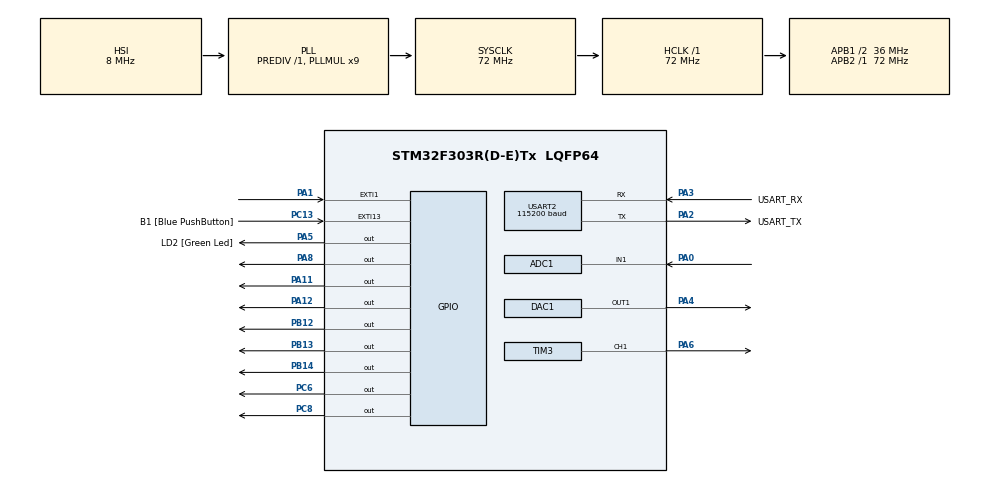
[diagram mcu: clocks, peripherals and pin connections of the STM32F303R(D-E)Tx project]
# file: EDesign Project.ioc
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ADC1.Channel-1\#ChannelRegularConversion=ADC_CHANNEL_1
ADC1.NbrOfConversionFlag=1
ADC1.Offset-1\#ChannelRegularConversion=0
ADC1.OffsetNumber-1\#ChannelRegularConversion=ADC_OFFSET_NONE
ADC1.Rank-1\#ChannelRegularConversion=1
ADC1.SamplingTime-1\#ChannelRegularConversion=ADC_SAMPLETIME_1CYCLE_5
ADC1.master=1
DAC1.DAC_Trigger=DAC_TRIGGER_T4_TRGO
Dma.DAC1_CH1.0.Direction=DMA_MEMORY_TO_PERIPH
Dma.DAC1_CH1.0.Instance=DMA1_Channel3
Dma.DAC1_CH1.0.MemDataAlignment=DMA_MDATAALIGN_WORD
Dma.DAC1_CH1.0.MemInc=DMA_MINC_ENABLE
Dma.DAC1_CH1.0.Mode=DMA_CIRCULAR
Dma.DAC1_CH1.0.PeriphDataAlignment=DMA_PDATAALIGN_WORD
Dma.DAC1_CH1.0.PeriphInc=DMA_PINC_DISABLE
Dma.DAC1_CH1.0.Priority=DMA_PRIORITY_LOW
Dma.Request0=DAC1_CH1
Mcu.Family=STM32F3
Mcu.Name=STM32F303R(D-E)Tx
Mcu.Package=LQFP64
NVIC.DMA1_Channel3_IRQn=true\:0\:0\:false\:false\:true\:false\:true
NVIC.EXTI1_IRQn=true\:0\:0\:false\:false\:true\:true\:true
NVIC.PriorityGroup=NVIC_PRIORITYGROUP_0
NVIC.TIM2_IRQn=true\:0\:0\:false\:false\:true\:true\:true
NVIC.TIM3_IRQn=true\:0\:0\:false\:false\:true\:true\:true
NVIC.TIM4_IRQn=true\:0\:0\:false\:false\:true\:true\:true
NVIC.USART2_IRQn=true\:0\:0\:false\:false\:true\:true\:true
PA0.Mode=IN1-Single-Ended
PA0.Signal=ADC1_IN1
PA1.Signal=GPXTI1
PA11.GPIO_ModeDefaultOutputPP=GPIO_MODE_OUTPUT_PP
PA11.Signal=GPIO_Output
PA12.GPIO_ModeDefaultOutputPP=GPIO_MODE_OUTPUT_PP
PA12.Signal=GPIO_Output
PA13.GPIO_Label=TMS
PA13.Mode=Serial_Wire
PA13.Signal=SYS_JTMS-SWDIO
PA14.GPIO_Label=TCK
PA14.Mode=Serial_Wire
PA14.Signal=SYS_JTCK-SWCLK
PA2.GPIO_Label=USART_TX
PA2.GPIO_Mode=GPIO_MODE_AF_PP
PA2.GPIO_PuPd=GPIO_NOPULL
PA2.GPIO_Speed=GPIO_SPEED_FREQ_LOW
PA2.Mode=Asynchronous
PA2.Signal=USART2_TX
PA3.GPIO_Label=USART_RX
PA3.GPIO_Mode=GPIO_MODE_AF_PP
PA3.GPIO_PuPd=GPIO_NOPULL
PA3.GPIO_Speed=GPIO_SPEED_FREQ_LOW
PA3.Mode=Asynchronous
PA3.Signal=USART2_RX
PA4.Signal=COMP_DAC11_group
PA5.GPIO_Label=LD2 [Green Led]
PA5.GPIO_Mode=GPIO_MODE_OUTPUT_PP
PA5.GPIO_PuPd=GPIO_NOPULL
PA5.GPIO_Speed=GPIO_SPEED_FREQ_LOW
PA5.Signal=GPIO_Output
PA6.Signal=S_TIM3_CH1
PA8.Signal=GPIO_Output
PB12.Signal=GPIO_Output
PB13.Signal=GPIO_Output
PB14.Signal=GPIO_Output
PB3.GPIO_Label=SWO
PB3.Signal=SYS_JTDO-TRACESWO
PC13.GPIO_Label=B1 [Blue PushButton]
PC13.GPIO_ModeDefaultEXTI=GPIO_MODE_IT_FALLING
PC13.Signal=GPXTI13
PC14-OSC32_IN.Mode=LSE-External-Oscillator
PC14-OSC32_IN.Signal=RCC_OSC32_IN
PC15-OSC32_OUT.Mode=LSE-External-Oscillator
PC15-OSC32_OUT.Signal=RCC_OSC32_OUT
PC6.GPIO_ModeDefaultOutputPP=GPIO_MODE_OUTPUT_PP
PC6.Signal=GPIO_Output
PC8.GPIO_ModeDefaultOutputPP=GPIO_MODE_OUTPUT_PP
PC8.Signal=GPIO_Output
PF0-OSC_IN.Mode=HSE-External-Clock-Source
PF0-OSC_IN.Signal=RCC_OSC_IN
PF1-OSC_OUT.Signal=RCC_OSC_OUT
ProjectManager.HeapSize=0x200
ProjectManager.StackSize=0x400
ProjectManager.TargetToolchain=STM32CubeIDE
RCC.AHBFreq_Value=72000000
RCC.APB1CLKDivider=RCC_HCLK_DIV2
RCC.APB1Freq_Value=36000000
RCC.APB1TimFreq_Value=72000000
RCC.APB2Freq_Value=72000000
RCC.APB2TimFreq_Value=72000000
RCC.CortexFreq_Value=72000000
RCC.HCLKFreq_Value=72000000
RCC.HSE_VALUE=8000000
RCC.HSI_VALUE=8000000
RCC.PLLM=8
RCC.PLLMUL=RCC_PLL_MUL9
RCC.PLLN=336
RCC.PLLP=RCC_PLLP_DIV4
RCC.PLLQ=7
RCC.RCC_PLLsource_Clock_Source_FROM_HSE=RCC_HSE_PREDIV_DIV2
RCC.SYSCLKFreq_VALUE=72000000
RCC.SYSCLKSourceVirtual=RCC_SYSCLKSOURCE_PLLCLK
RCC.USBFreq_Value=72000000
SH.COMP_DAC11_group.0=DAC1_OUT1,DAC_OUT1
SH.S_TIM3_CH1.0=TIM3_CH1,Output Compare1 CH1
TIM2.Period=499
TIM2.Prescaler=7199
TIM3.Channel-Output\ Compare1\ CH1=TIM_CHANNEL_1
TIM3.Period=49
TIM3.Prescaler=71
TIM4.Period=10-1
TIM4.Prescaler=72-1
TIM4.TIM_MasterOutputTrigger=TIM_TRGO_UPDATE
USART2.BaudRate=115200
USART2.VirtualMode-Asynchronous=VM_ASYNC
VP_TIM2_VS_ClockSourceINT.Mode=Internal
VP_TIM3_VS_ClockSourceINT.Mode=Internal
VP_TIM4_VS_ClockSourceINT.Mode=Internal
board=NUCLEO-F303RE

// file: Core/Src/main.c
/* USER CODE BEGIN Header */
/**
 ******************************************************************************
 * @file           : main.c
 * @brief          : Main program body
 ******************************************************************************
 * @attention
 *
 * <h2><center>&copy; Copyright (c) 2022 STMicroelectronics.
 * All rights reserved.</center></h2>
 *
 * This software component is licensed by ST under BSD 3-Clause license,
 * the "License"; You may not use this file except in compliance with the
 * License. You may obtain a copy of the License at:
 *                        opensource.org/licenses/BSD-3-Clause
 *
 ******************************************************************************
 */
/* USER CODE END Header */

#include "main.h"

/* USER CODE BEGIN Includes */
#include "uart_lise.h"
#include "stateManagement.h"
#include "output.h"
#include "lcd.h"
/* USER CODE END Includes */

ADC_HandleTypeDef hadc1;

DAC_HandleTypeDef hdac1;
DMA_HandleTypeDef hdma_dac1_ch1;

TIM_HandleTypeDef htim2;
TIM_HandleTypeDef htim3;
TIM_HandleTypeDef htim4;

UART_HandleTypeDef huart2;

/* USER CODE BEGIN PV */
uint8_t buttonState = 1;
uint8_t toggle_menu = 0;
uint32_t dcVal[100];
/* USER CODE END PV */

void SystemClock_Config(void);
static void MX_GPIO_Init(void);
static void MX_DMA_Init(void);
static void MX_ADC1_Init(void);
static void MX_USART2_UART_Init(void);
static void MX_TIM3_Init(void);
static void MX_TIM2_Init(void);
static void MX_TIM4_Init(void);
static void MX_DAC1_Init(void);

/* USER CODE BEGIN 0 */
void HAL_GPIO_EXTI_Callback(uint16_t GPIO_Pin)
{
  /* Prevent unused argument(s) compilation warning */
  UNUSED(GPIO_Pin);
  if (GPIO_Pin == 2 && buttonState ==1)
  {
	  HAL_TIM_Base_Start_IT(&htim2);
	  buttonState =0;
  }
  /* NOTE: This function should not be modified, when the callback is needed,
           the HAL_GPIO_EXTI_Callback could be implemented in the user file
   */
}

void HAL_TIM_PeriodElapsedCallback(TIM_HandleTypeDef *htim) {
	/* Prevent unused argument(s) compilation warning */
	UNUSED(htim);

	if (htim == &htim2)
	{
		if ((GPIOA->IDR & 0b1<<1) == 0)
		{
			HAL_TIM_Base_Stop_IT(&htim2);
			GPIOA->ODR = GPIOA->ODR ^ (0b1<<8); // if low make high, if high make low
			toggle_menu = 1;
			buttonState =1;
		}

	}

	if (htim == &htim3) {
		sampleADC();
	}
}

/* USER CODE END 0 */

int main(void)
{

  /* MCU Configuration--------------------------------------------------------*/

  /* Reset of all peripherals, Initializes the Flash interface and the Systick. */
  HAL_Init();

  /* Configure the system clock */
  SystemClock_Config();

  /* Initialize all configured peripherals */
  MX_GPIO_Init();
  MX_DMA_Init();
  MX_ADC1_Init();
  MX_USART2_UART_Init();
  MX_TIM3_Init();
  MX_TIM2_Init();
  MX_TIM4_Init();
  MX_DAC1_Init();
  /* USER CODE BEGIN 2 */
  HAL_TIM_Base_Start_IT(&htim3);
  HAL_TIM_Base_Start(&htim4);
  initState();
  LCD_init();
  LCD_Clear();
  menuInit();
  // Commented out for menu initialization:
//  LCD_Write_String("Lee Johnson");
//  LCD_Set_Cursor(2,1);
//  LCD_Write_String("24058661");
  /* USER CODE END 2 */

  /* Infinite loop */
  /* USER CODE BEGIN WHILE */
  HAL_UART_Transmit(&huart2, (uint8_t*) "@,24058661,!,\n", 14, 10);
  HAL_UART_Receive_IT(&huart2, rxData, 1);
	while (1) {

		if(toggle_menu){
			// Do we have to toggle between menu and display state?
			if(LCDState == STATE_LCD_MENU){
				setLCDState(STATE_LCD_DISPLAY);
			} else {
				setLCDState(STATE_LCD_MENU);
			}
			toggle_menu = 0;
		}

		if(input_complete){
			// If we have dealt with out UART received data in the callback function
			  process_input();
			  //HAL_UART_Transmit(&huart2, (uint8_t*)mode ,2,50);
			  input_complete = 0;
		}

		if(send_status){
			// Do we need to send a status message?
			  status_message[2] = mes_mode[0]; // Better than stateToString()
			  status_message[3] = mes_mode[1]; // Better than stateToString()
			  status_message[5] = outTypeToString();
			  status_message[7] = outputToString();

			  HAL_UART_Transmit(&huart2, status_message ,11,50);
			  send_status = 0;
		}

		if(send_measure){
			// Do we need to send a measurement message?
			  sendMeasure();
			  send_measure = 0;
		}
    /* USER CODE END WHILE */

    /* USER CODE BEGIN 3 */
		dcOut();
		calcSin();
		acOut();
	}
  /* USER CODE END 3 */
}

void SystemClock_Config(void)
{
  RCC_OscInitTypeDef RCC_OscInitStruct = {0};
  RCC_ClkInitTypeDef RCC_ClkInitStruct = {0};
  RCC_PeriphCLKInitTypeDef PeriphClkInit = {0};

  /** Initializes the CPU, AHB and APB busses clocks
  */
  RCC_OscInitStruct.OscillatorType = RCC_OSCILLATORTYPE_HSI;
  RCC_OscInitStruct.HSIState = RCC_HSI_ON;
  RCC_OscInitStruct.HSICalibrationValue = RCC_HSICALIBRATION_DEFAULT;
  RCC_OscInitStruct.PLL.PLLState = RCC_PLL_ON;
  RCC_OscInitStruct.PLL.PLLSource = RCC_PLLSOURCE_HSI;
  RCC_OscInitStruct.PLL.PLLMUL = RCC_PLL_MUL9;
  RCC_OscInitStruct.PLL.PREDIV = RCC_PREDIV_DIV1;
  if (HAL_RCC_OscConfig(&RCC_OscInitStruct) != HAL_OK)
  {
    Error_Handler();
  }
  /** Initializes the CPU, AHB and APB busses clocks
  */
  RCC_ClkInitStruct.ClockType = RCC_CLOCKTYPE_HCLK|RCC_CLOCKTYPE_SYSCLK
                              |RCC_CLOCKTYPE_PCLK1|RCC_CLOCKTYPE_PCLK2;
  RCC_ClkInitStruct.SYSCLKSource = RCC_SYSCLKSOURCE_PLLCLK;
  RCC_ClkInitStruct.AHBCLKDivider = RCC_SYSCLK_DIV1;
  RCC_ClkInitStruct.APB1CLKDivider = RCC_HCLK_DIV2;
  RCC_ClkInitStruct.APB2CLKDivider = RCC_HCLK_DIV1;

  if (HAL_RCC_ClockConfig(&RCC_ClkInitStruct, FLASH_LATENCY_2) != HAL_OK)
  {
    Error_Handler();
  }
  PeriphClkInit.PeriphClockSelection = RCC_PERIPHCLK_USART2|RCC_PERIPHCLK_ADC12
                              |RCC_PERIPHCLK_TIM2|RCC_PERIPHCLK_TIM34;
  PeriphClkInit.Usart2ClockSelection = RCC_USART2CLKSOURCE_PCLK1;
  PeriphClkInit.Adc12ClockSelection = RCC_ADC12PLLCLK_DIV1;
  PeriphClkInit.Tim2ClockSelection = RCC_TIM2CLK_HCLK;
  PeriphClkInit.Tim34ClockSelection = RCC_TIM34CLK_HCLK;
  if (HAL_RCCEx_PeriphCLKConfig(&PeriphClkInit) != HAL_OK)
  {
    Error_Handler();
  }
}

static void MX_ADC1_Init(void)
{

  ADC_MultiModeTypeDef multimode = {0};
  ADC_ChannelConfTypeDef sConfig = {0};

  /** Common config
  */
  hadc1.Instance = ADC1;
  hadc1.Init.ClockPrescaler = ADC_CLOCK_ASYNC_DIV1;
  hadc1.Init.Resolution = ADC_RESOLUTION_12B;
  hadc1.Init.ScanConvMode = ADC_SCAN_DISABLE;
  hadc1.Init.ContinuousConvMode = DISABLE;
  hadc1.Init.DiscontinuousConvMode = DISABLE;
  hadc1.Init.ExternalTrigConvEdge = ADC_EXTERNALTRIGCONVEDGE_NONE;
  hadc1.Init.ExternalTrigConv = ADC_SOFTWARE_START;
  hadc1.Init.DataAlign = ADC_DATAALIGN_RIGHT;
  hadc1.Init.NbrOfConversion = 1;
  hadc1.Init.DMAContinuousRequests = DISABLE;
  hadc1.Init.EOCSelection = ADC_EOC_SINGLE_CONV;
  hadc1.Init.LowPowerAutoWait = DISABLE;
  hadc1.Init.Overrun = ADC_OVR_DATA_OVERWRITTEN;
  if (HAL_ADC_Init(&hadc1) != HAL_OK)
  {
    Error_Handler();
  }
  /** Configure the ADC multi-mode
  */
  multimode.Mode = ADC_MODE_INDEPENDENT;
  if (HAL_ADCEx_MultiModeConfigChannel(&hadc1, &multimode) != HAL_OK)
  {
    Error_Handler();
  }
  /** Configure Regular Channel
  */
  sConfig.Channel = ADC_CHANNEL_1;
  sConfig.Rank = ADC_REGULAR_RANK_1;
  sConfig.SingleDiff = ADC_SINGLE_ENDED;
  sConfig.SamplingTime = ADC_SAMPLETIME_1CYCLE_5;
  sConfig.OffsetNumber = ADC_OFFSET_NONE;
  sConfig.Offset = 0;
  if (HAL_ADC_ConfigChannel(&hadc1, &sConfig) != HAL_OK)
  {
    Error_Handler();
  }

}

static void MX_DAC1_Init(void)
{

  DAC_ChannelConfTypeDef sConfig = {0};

  /** DAC Initialization
  */
  hdac1.Instance = DAC1;
  if (HAL_DAC_Init(&hdac1) != HAL_OK)
  {
    Error_Handler();
  }
  /** DAC channel OUT1 config
  */
  sConfig.DAC_Trigger = DAC_TRIGGER_T4_TRGO;
  sConfig.DAC_OutputBuffer = DAC_OUTPUTBUFFER_ENABLE;
  if (HAL_DAC_ConfigChannel(&hdac1, &sConfig, DAC_CHANNEL_1) != HAL_OK)
  {
    Error_Handler();
  }

}

static void MX_TIM2_Init(void)
{

  TIM_ClockConfigTypeDef sClockSourceConfig = {0};
  TIM_MasterConfigTypeDef sMasterConfig = {0};

  htim2.Instance = TIM2;
  htim2.Init.Prescaler = 7199;
  htim2.Init.CounterMode = TIM_COUNTERMODE_UP;
  htim2.Init.Period = 499;
  htim2.Init.ClockDivision = TIM_CLOCKDIVISION_DIV1;
  htim2.Init.AutoReloadPreload = TIM_AUTORELOAD_PRELOAD_DISABLE;
  if (HAL_TIM_Base_Init(&htim2) != HAL_OK)
  {
    Error_Handler();
  }
  sClockSourceConfig.ClockSource = TIM_CLOCKSOURCE_INTERNAL;
  if (HAL_TIM_ConfigClockSource(&htim2, &sClockSourceConfig) != HAL_OK)
  {
    Error_Handler();
  }
  sMasterConfig.MasterOutputTrigger = TIM_TRGO_RESET;
  sMasterConfig.MasterSlaveMode = TIM_MASTERSLAVEMODE_DISABLE;
  if (HAL_TIMEx_MasterConfigSynchronization(&htim2, &sMasterConfig) != HAL_OK)
  {
    Error_Handler();
  }

}

static void MX_TIM3_Init(void)
{

  TIM_ClockConfigTypeDef sClockSourceConfig = {0};
  TIM_MasterConfigTypeDef sMasterConfig = {0};
  TIM_OC_InitTypeDef sConfigOC = {0};

  htim3.Instance = TIM3;
  htim3.Init.Prescaler = 71;
  htim3.Init.CounterMode = TIM_COUNTERMODE_UP;
  htim3.Init.Period = 49;
  htim3.Init.ClockDivision = TIM_CLOCKDIVISION_DIV1;
  htim3.Init.AutoReloadPreload = TIM_AUTORELOAD_PRELOAD_DISABLE;
  if (HAL_TIM_Base_Init(&htim3) != HAL_OK)
  {
    Error_Handler();
  }
  sClockSourceConfig.ClockSource = TIM_CLOCKSOURCE_INTERNAL;
  if (HAL_TIM_ConfigClockSource(&htim3, &sClockSourceConfig) != HAL_OK)
  {
    Error_Handler();
  }
  if (HAL_TIM_OC_Init(&htim3) != HAL_OK)
  {
    Error_Handler();
  }
  sMasterConfig.MasterOutputTrigger = TIM_TRGO_RESET;
  sMasterConfig.MasterSlaveMode = TIM_MASTERSLAVEMODE_DISABLE;
  if (HAL_TIMEx_MasterConfigSynchronization(&htim3, &sMasterConfig) != HAL_OK)
  {
    Error_Handler();
  }
  sConfigOC.OCMode = TIM_OCMODE_TIMING;
  sConfigOC.Pulse = 0;
  sConfigOC.OCPolarity = TIM_OCPOLARITY_HIGH;
  sConfigOC.OCFastMode = TIM_OCFAST_DISABLE;
  if (HAL_TIM_OC_ConfigChannel(&htim3, &sConfigOC, TIM_CHANNEL_1) != HAL_OK)
  {
    Error_Handler();
  }
  HAL_TIM_MspPostInit(&htim3);

}

static void MX_TIM4_Init(void)
{

  TIM_ClockConfigTypeDef sClockSourceConfig = {0};
  TIM_MasterConfigTypeDef sMasterConfig = {0};

  htim4.Instance = TIM4;
  htim4.Init.Prescaler = 72-1;
  htim4.Init.CounterMode = TIM_COUNTERMODE_UP;
  htim4.Init.Period = 10-1;
  htim4.Init.ClockDivision = TIM_CLOCKDIVISION_DIV1;
  htim4.Init.AutoReloadPreload = TIM_AUTORELOAD_PRELOAD_DISABLE;
  if (HAL_TIM_Base_Init(&htim4) != HAL_OK)
  {
    Error_Handler();
  }
  sClockSourceConfig.ClockSource = TIM_CLOCKSOURCE_INTERNAL;
  if (HAL_TIM_ConfigClockSource(&htim4, &sClockSourceConfig) != HAL_OK)
  {
    Error_Handler();
  }
  sMasterConfig.MasterOutputTrigger = TIM_TRGO_UPDATE;
  sMasterConfig.MasterSlaveMode = TIM_MASTERSLAVEMODE_DISABLE;
  if (HAL_TIMEx_MasterConfigSynchronization(&htim4, &sMasterConfig) != HAL_OK)
  {
    Error_Handler();
  }

}

static void MX_USART2_UART_Init(void)
{

  huart2.Instance = USART2;
  huart2.Init.BaudRate = 115200;
  huart2.Init.WordLength = UART_WORDLENGTH_8B;
  huart2.Init.StopBits = UART_STOPBITS_1;
  huart2.Init.Parity = UART_PARITY_NONE;
  huart2.Init.Mode = UART_MODE_TX_RX;
  huart2.Init.HwFlowCtl = UART_HWCONTROL_NONE;
  huart2.Init.OverSampling = UART_OVERSAMPLING_16;
  huart2.Init.OneBitSampling = UART_ONE_BIT_SAMPLE_DISABLE;
  huart2.AdvancedInit.AdvFeatureInit = UART_ADVFEATURE_NO_INIT;
  if (HAL_UART_Init(&huart2) != HAL_OK)
  {
    Error_Handler();
  }

}

static void MX_DMA_Init(void)
{

  /* DMA controller clock enable */
  __HAL_RCC_DMA1_CLK_ENABLE();

  /* DMA interrupt init */
  /* DMA1_Channel3_IRQn interrupt configuration */
  HAL_NVIC_SetPriority(DMA1_Channel3_IRQn, 0, 0);
  HAL_NVIC_EnableIRQ(DMA1_Channel3_IRQn);

}

static void MX_GPIO_Init(void)
{
  GPIO_InitTypeDef GPIO_InitStruct = {0};

  /* GPIO Ports Clock Enable */
  __HAL_RCC_GPIOC_CLK_ENABLE();
  __HAL_RCC_GPIOF_CLK_ENABLE();
  __HAL_RCC_GPIOA_CLK_ENABLE();
  __HAL_RCC_GPIOB_CLK_ENABLE();

  /*Configure GPIO pin Output Level */
  HAL_GPIO_WritePin(GPIOA, LD2_Pin|GPIO_PIN_8|GPIO_PIN_11|GPIO_PIN_12, GPIO_PIN_RESET);

  /*Configure GPIO pin Output Level */
  HAL_GPIO_WritePin(GPIOB, GPIO_PIN_12|GPIO_PIN_13|GPIO_PIN_14, GPIO_PIN_RESET);

  /*Configure GPIO pin Output Level */
  HAL_GPIO_WritePin(GPIOC, GPIO_PIN_6|GPIO_PIN_8, GPIO_PIN_RESET);

  /*Configure GPIO pin : B1_Pin */
  GPIO_InitStruct.Pin = B1_Pin;
  GPIO_InitStruct.Mode = GPIO_MODE_IT_FALLING;
  GPIO_InitStruct.Pull = GPIO_NOPULL;
  HAL_GPIO_Init(B1_GPIO_Port, &GPIO_InitStruct);

  /*Configure GPIO pin : PA1 */
  GPIO_InitStruct.Pin = GPIO_PIN_1;
  GPIO_InitStruct.Mode = GPIO_MODE_IT_RISING;
  GPIO_InitStruct.Pull = GPIO_NOPULL;
  HAL_GPIO_Init(GPIOA, &GPIO_InitStruct);

  /*Configure GPIO pins : LD2_Pin PA8 PA11 PA12 */
  GPIO_InitStruct.Pin = LD2_Pin|GPIO_PIN_8|GPIO_PIN_11|GPIO_PIN_12;
  GPIO_InitStruct.Mode = GPIO_MODE_OUTPUT_PP;
  GPIO_InitStruct.Pull = GPIO_NOPULL;
  GPIO_InitStruct.Speed = GPIO_SPEED_FREQ_LOW;
  HAL_GPIO_Init(GPIOA, &GPIO_InitStruct);

  /*Configure GPIO pins : PB12 PB13 PB14 */
  GPIO_InitStruct.Pin = GPIO_PIN_12|GPIO_PIN_13|GPIO_PIN_14;
  GPIO_InitStruct.Mode = GPIO_MODE_OUTPUT_PP;
  GPIO_InitStruct.Pull = GPIO_NOPULL;
  GPIO_InitStruct.Speed = GPIO_SPEED_FREQ_LOW;
  HAL_GPIO_Init(GPIOB, &GPIO_InitStruct);

  /*Configure GPIO pins : PC6 PC8 */
  GPIO_InitStruct.Pin = GPIO_PIN_6|GPIO_PIN_8;
  GPIO_InitStruct.Mode = GPIO_MODE_OUTPUT_PP;
  GPIO_InitStruct.Pull = GPIO_NOPULL;
  GPIO_InitStruct.Speed = GPIO_SPEED_FREQ_LOW;
  HAL_GPIO_Init(GPIOC, &GPIO_InitStruct);

  /* EXTI interrupt init*/
  HAL_NVIC_SetPriority(EXTI1_IRQn, 0, 0);
  HAL_NVIC_EnableIRQ(EXTI1_IRQn);

}

void Error_Handler(void)
{
}

/************************ (C) COPYRIGHT STMicroelectronics *****END OF FILE****/
